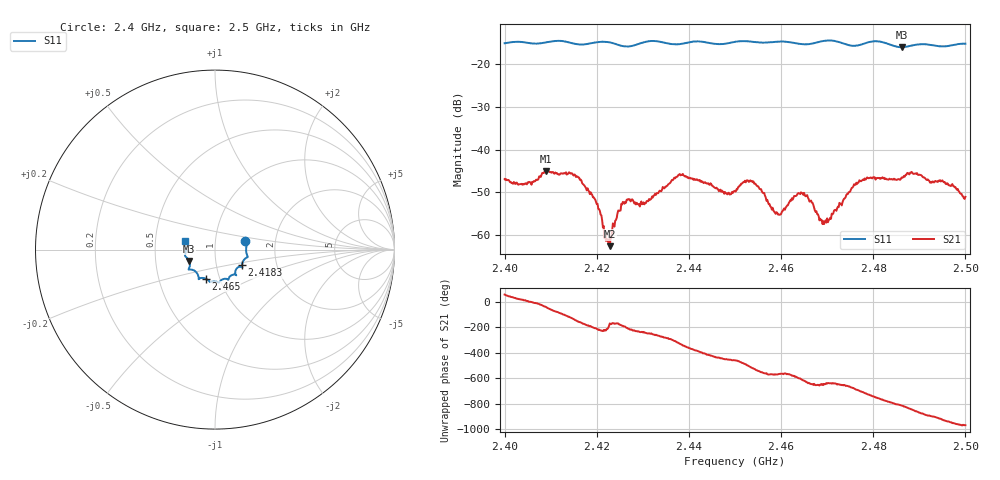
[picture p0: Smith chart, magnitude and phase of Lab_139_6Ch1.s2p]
# Hz S RI R 50
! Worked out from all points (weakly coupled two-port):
!   601 points, 2.4 GHz to 2.5 GHz, reference 50 ohm
!   highest |S21| = -45.03 dB at 2.409 GHz (marker M1); lowest = -62.6 dB at 2.4228 GHz (marker M2)
!   lowest |S11| = -16.1 dB at 2.4862 GHz (marker M3), VSWR 1.37, Z = 37.2 - j4.84 ohm
!   |S11| at or under -10 dB: start of sweep to end of sweep
!   S12 and S22 are empty: the file has one direction only
!   S11 on the Smith chart (normalised r, x): 2.4 GHz: 1.40, +0.14; 2.4183 GHz: 1.33, -0.24; 2.465 GHz: 0.86, -0.28; 2.5 GHz: 0.71, +0.07
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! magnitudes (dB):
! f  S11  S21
! 2.4 GHz  -15.2  -46.9
! 2.4043 GHz  -14.9  -48.0
! 2.409 GHz  -14.9  -45.0
! 2.4167 GHz  -15.4  -47.3
! 2.4183 GHz  -15.2  -49.8
! 2.4205 GHz  -14.8  -53.9
! 2.4222 GHz  -14.8  -60.9
! 2.4228 GHz  -14.9  -62.6
! 2.4258 GHz  -15.9  -52.4
! 2.4333 GHz  -14.7  -50.2
! 2.4382 GHz  -15.3  -46.0
! 2.45 GHz  -14.8  -49.6
! 2.4538 GHz  -14.8  -47.6
! 2.4593 GHz  -14.8  -55.2
! 2.465 GHz  -15.4  -50.1
! 2.4667 GHz  -15.2  -52.4
! 2.4698 GHz  -14.5  -57.1
! 2.4767 GHz  -15.7  -47.7
! 2.4833 GHz  -15.3  -47.0
! 2.4862 GHz  -16.1  -46.5
! 2.495 GHz  -15.9  -47.2
! 2.5 GHz  -15.3  -51.1
